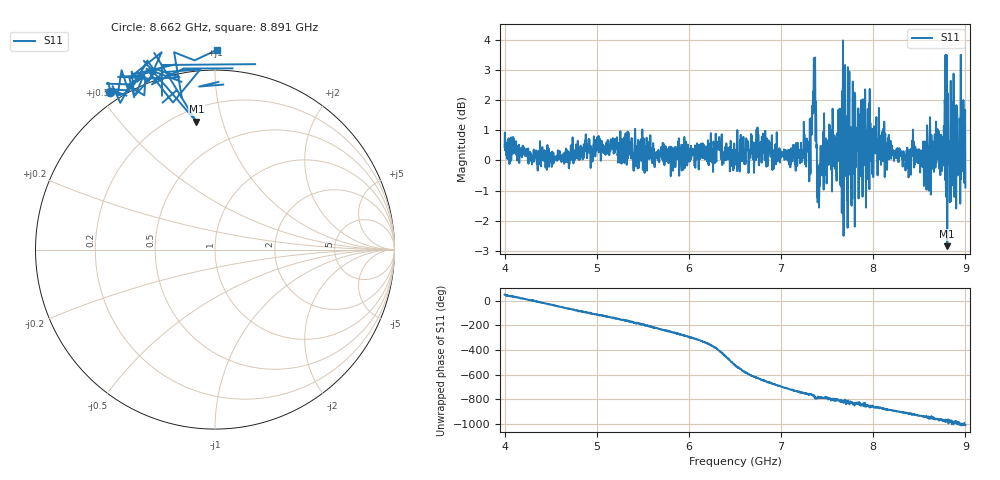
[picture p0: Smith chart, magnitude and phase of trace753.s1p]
! Created with skrf 1.8.0 (http://scikit-rf.org).
# Hz S RI R 50.0
!freq ReS11 ImS11
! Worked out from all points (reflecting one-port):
!   1601 points, 4 GHz to 9 GHz, reference 50 ohm
!   lowest |S11| = -2.8 dB at 8.803 GHz (marker M1), VSWR 6.17, Z = 13.9 + j41.3 ohm
!   phase of S11 starts at 50 deg and turns -1059 deg over the sweep
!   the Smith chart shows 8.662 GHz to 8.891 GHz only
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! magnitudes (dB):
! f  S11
! 4 GHz  0.4
! 4.625 GHz  0.0
! 5.25 GHz  -0.1
! 5.875 GHz  0.5
! 6.5 GHz  0.1
! 6.769 GHz  0.5
! 7.125 GHz  0.1
! 7.294 GHz  0.3
! 7.356 GHz  3.4
! 7.378 GHz  2.0
! 7.397 GHz  -1.4
! 7.416 GHz  -0.7
! 7.453 GHz  0.0
! 7.538 GHz  1.0
! 7.591 GHz  0.8
! 7.688 GHz  1.7
! 7.7 GHz  0.0
! 7.75 GHz  0.7
! 7.775 GHz  1.0
! 7.8 GHz  -2.2
! 7.891 GHz  0.2
! 7.941 GHz  1.7
! 8.375 GHz  -0.2
! 8.553 GHz  0.2
! 8.803 GHz  -2.8
! 8.844 GHz  -1.4
! 8.972 GHz  0.5
! 9 GHz  -0.9
